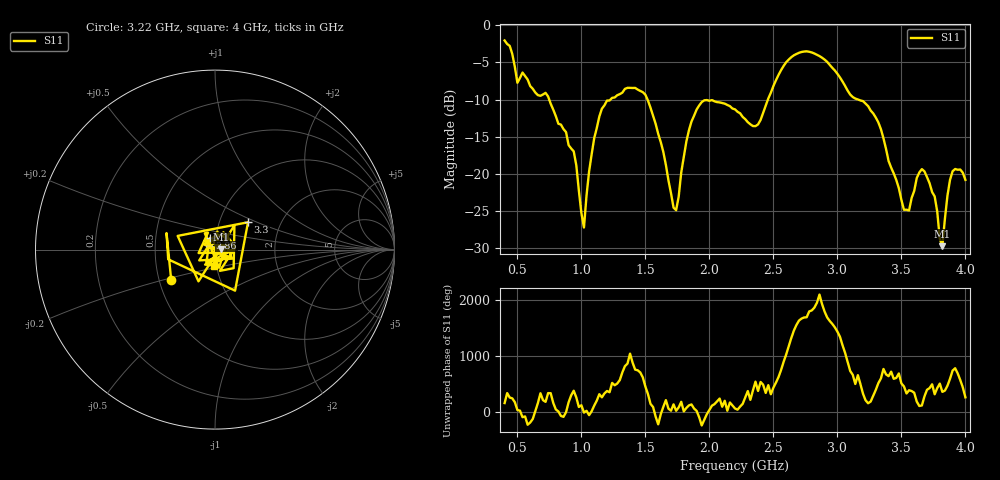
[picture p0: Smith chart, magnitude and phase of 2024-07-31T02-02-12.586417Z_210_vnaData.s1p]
!Created with skrf (http://scikit-rf.org).
# Hz S RI R 50.0
!freq ReS11 ImS11
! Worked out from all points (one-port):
!   181 points, 400 MHz to 4 GHz, reference 50 ohm
!   lowest |S11| = -29.8 dB at 3.82 GHz (marker M1), VSWR 1.07, Z = 53.3 + j0.237 ohm
!   |S11| at or under -10 dB: 748.3 MHz to 1.227 GHz (479.2 MHz wide, 48.5 % of centre); 1.516 GHz to 2.457 GHz (940.8 MHz wide, 47.4 % of centre); 3.161 GHz to end of sweep
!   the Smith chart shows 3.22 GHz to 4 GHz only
!   S11 on the Smith chart (normalised r, x): 3.22 GHz: 0.58, -0.21; 3.3 GHz: 1.37, +0.44; 3.86 GHz: 0.94, +0.12; 4 GHz: 0.97, -0.18
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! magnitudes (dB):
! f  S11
! 400 MHz  -2.0
! 500 MHz  -7.7
! 720 MHz  -9.1
! 860 MHz  -14.0
! 940 MHz  -17.0
! 1.02 GHz  -27.3
! 1.06 GHz  -19.7
! 1.14 GHz  -12.3
! 1.3 GHz  -9.3
! 1.5 GHz  -9.4
! 1.72 GHz  -24.6
! 1.76 GHz  -23.1
! 1.82 GHz  -15.7
! 1.92 GHz  -10.8
! 2.2 GHz  -11.3
! 2.38 GHz  -13.4
! 2.66 GHz  -4.0
! 2.88 GHz  -4.4
! 3.1 GHz  -9.3
! 3.22 GHz  -10.6
! 3.3 GHz  -12.4
! 3.56 GHz  -25.0
! 3.68 GHz  -19.7
! 3.76 GHz  -23.1
! 3.82 GHz  -29.8
! 3.86 GHz  -23.0
! 3.9 GHz  -19.7
! 4 GHz  -20.8
